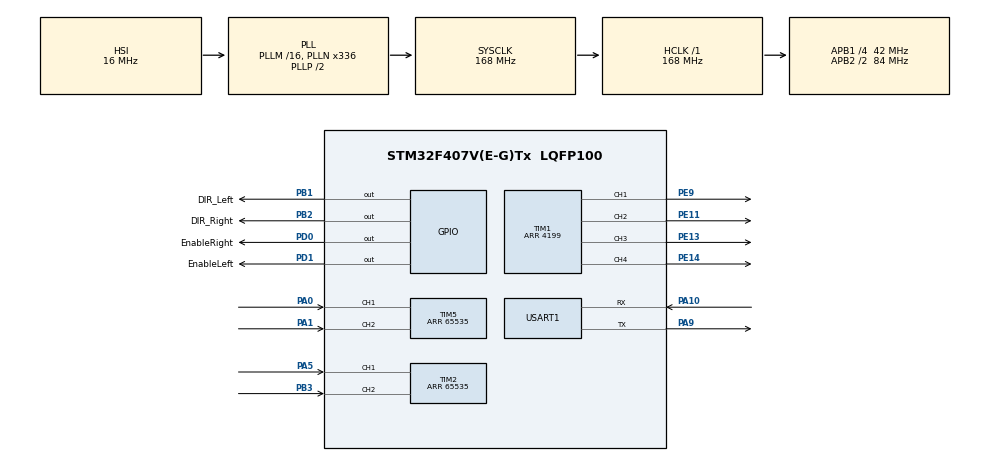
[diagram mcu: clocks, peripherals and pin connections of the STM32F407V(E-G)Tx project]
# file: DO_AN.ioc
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Mcu.Family=STM32F4
Mcu.Name=STM32F407V(E-G)Tx
Mcu.Package=LQFP100
NVIC.PriorityGroup=NVIC_PRIORITYGROUP_4
NVIC.TIM6_DAC_IRQn=true\:0\:0\:false\:false\:true\:true\:true
PA0-WKUP.Signal=S_TIM5_CH1
PA1.Signal=S_TIM5_CH2
PA10.Mode=Asynchronous
PA10.Signal=USART1_RX
PA5.Signal=S_TIM2_CH1_ETR
PA9.Mode=Asynchronous
PA9.Signal=USART1_TX
PB1.GPIO_Label=DIR_Left
PB1.Signal=GPIO_Output
PB2.GPIO_Label=DIR_Right
PB2.Signal=GPIO_Output
PB3.Signal=S_TIM2_CH2
PD0.GPIO_Label=EnableRight
PD0.Signal=GPIO_Output
PD1.GPIO_Label=EnableLeft
PD1.Signal=GPIO_Output
PE11.Signal=S_TIM1_CH2
PE13.Signal=S_TIM1_CH3
PE14.Signal=S_TIM1_CH4
PE9.Signal=S_TIM1_CH1
ProjectManager.HeapSize=0x200
ProjectManager.StackSize=0x400
ProjectManager.TargetToolchain=STM32CubeIDE
RCC.48MHZClocksFreq_Value=84000000
RCC.AHBFreq_Value=168000000
RCC.APB1CLKDivider=RCC_HCLK_DIV4
RCC.APB1Freq_Value=42000000
RCC.APB1TimFreq_Value=84000000
RCC.APB2CLKDivider=RCC_HCLK_DIV2
RCC.APB2Freq_Value=84000000
RCC.APB2TimFreq_Value=168000000
RCC.CortexFreq_Value=168000000
RCC.HCLKFreq_Value=168000000
RCC.HSE_VALUE=25000000
RCC.HSI_VALUE=16000000
RCC.LSE_VALUE=32768
RCC.PLLN=336
RCC.SYSCLKFreq_VALUE=168000000
RCC.SYSCLKSource=RCC_SYSCLKSOURCE_PLLCLK
RCC.VCOOutputFreq_Value=336000000
SH.S_TIM1_CH1.0=TIM1_CH1,PWM Generation1 CH1
SH.S_TIM1_CH2.0=TIM1_CH2,PWM Generation2 CH2
SH.S_TIM1_CH3.0=TIM1_CH3,PWM Generation3 CH3
SH.S_TIM1_CH4.0=TIM1_CH4,PWM Generation4 CH4
SH.S_TIM2_CH1_ETR.0=TIM2_CH1,Encoder_Interface
SH.S_TIM2_CH2.0=TIM2_CH2,Encoder_Interface
SH.S_TIM5_CH1.0=TIM5_CH1,Encoder_Interface
SH.S_TIM5_CH2.0=TIM5_CH2,Encoder_Interface
TIM1.Channel-PWM\ Generation1\ CH1=TIM_CHANNEL_1
TIM1.Channel-PWM\ Generation2\ CH2=TIM_CHANNEL_2
TIM1.Channel-PWM\ Generation3\ CH3=TIM_CHANNEL_3
TIM1.Channel-PWM\ Generation4\ CH4=TIM_CHANNEL_4
TIM1.Period=4199
TIM2.EncoderMode=TIM_ENCODERMODE_TI12
TIM2.Period=65535
TIM5.EncoderMode=TIM_ENCODERMODE_TI12
TIM5.Period=65535
TIM6.Period=8399
TIM6.Prescaler=9
USART1.VirtualMode=VM_ASYNC
VP_TIM1_VS_ClockSourceINT.Mode=Internal
VP_TIM6_VS_ClockSourceINT.Mode=Enable_Timer
board=custom

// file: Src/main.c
/* USER CODE BEGIN Header */
/**
  ******************************************************************************
  * @file           : main.c
  * @brief          : Main program body
  ******************************************************************************
  * @attention
  *
  * <h2><center>&copy; Copyright (c) 2026 STMicroelectronics.
  * All rights reserved.</center></h2>
  *
  * This software component is licensed by ST under BSD 3-Clause license,
  * the "License"; You may not use this file except in compliance with the
  * License. You may obtain a copy of the License at:
  *                        opensource.org/licenses/BSD-3-Clause
  *
  ******************************************************************************
  */
/* USER CODE END Header */
#include "main.h"
#include "tim.h"
#include "usart.h"
#include "gpio.h"
#include "control.h"
#include "global.h"
#include <string.h>

void SystemClock_Config(void);

int main(void)
{

  /* MCU Configuration--------------------------------------------------------*/

  /* Reset of all peripherals, Initializes the Flash interface and the Systick. */
  HAL_Init();

  /* Configure the system clock */
  SystemClock_Config();

  /* Initialize all configured peripherals */
  MX_GPIO_Init();
  MX_TIM1_Init();
  MX_TIM2_Init();
  MX_TIM6_Init();
  MX_TIM5_Init();
  MX_USART1_UART_Init();
  /* USER CODE BEGIN 2 */
  HAL_TIM_Base_Start_IT(&htim6);
  HAL_TIM_Encoder_Start(&htim2, TIM_CHANNEL_ALL);
  HAL_TIM_Encoder_Start(&htim5, TIM_CHANNEL_ALL);
  HAL_TIM_PWM_Start(&htim1, TIM_CHANNEL_1);
  HAL_TIM_PWM_Start(&htim1, TIM_CHANNEL_2);
  HAL_TIM_PWM_Start(&htim1, TIM_CHANNEL_3);
  HAL_TIM_PWM_Start(&htim1, TIM_CHANNEL_4);
  HAL_UART_Receive_IT(&huart1, rx_buf, sizeof(rx_buf));
  control_init();
  /* USER CODE END 2 */

  /* Infinite loop */
  while (1)
  {

  }
}

void SystemClock_Config(void)
{
  RCC_OscInitTypeDef RCC_OscInitStruct = {0};
  RCC_ClkInitTypeDef RCC_ClkInitStruct = {0};

  /** Configure the main internal regulator output voltage
  */
  __HAL_RCC_PWR_CLK_ENABLE();
  __HAL_PWR_VOLTAGESCALING_CONFIG(PWR_REGULATOR_VOLTAGE_SCALE1);
  /** Initializes the RCC Oscillators according to the specified parameters
  * in the RCC_OscInitTypeDef structure.
  */
  RCC_OscInitStruct.OscillatorType = RCC_OSCILLATORTYPE_HSI;
  RCC_OscInitStruct.HSIState = RCC_HSI_ON;
  RCC_OscInitStruct.HSICalibrationValue = RCC_HSICALIBRATION_DEFAULT;
  RCC_OscInitStruct.PLL.PLLState = RCC_PLL_ON;
  RCC_OscInitStruct.PLL.PLLSource = RCC_PLLSOURCE_HSI;
  RCC_OscInitStruct.PLL.PLLM = 16;
  RCC_OscInitStruct.PLL.PLLN = 336;
  RCC_OscInitStruct.PLL.PLLP = RCC_PLLP_DIV2;
  RCC_OscInitStruct.PLL.PLLQ = 4;
  if (HAL_RCC_OscConfig(&RCC_OscInitStruct) != HAL_OK)
  {
    Error_Handler();
  }
  /** Initializes the CPU, AHB and APB buses clocks
  */
  RCC_ClkInitStruct.ClockType = RCC_CLOCKTYPE_HCLK|RCC_CLOCKTYPE_SYSCLK
                              |RCC_CLOCKTYPE_PCLK1|RCC_CLOCKTYPE_PCLK2;
  RCC_ClkInitStruct.SYSCLKSource = RCC_SYSCLKSOURCE_PLLCLK;
  RCC_ClkInitStruct.AHBCLKDivider = RCC_SYSCLK_DIV1;
  RCC_ClkInitStruct.APB1CLKDivider = RCC_HCLK_DIV4;
  RCC_ClkInitStruct.APB2CLKDivider = RCC_HCLK_DIV2;

  if (HAL_RCC_ClockConfig(&RCC_ClkInitStruct, FLASH_LATENCY_5) != HAL_OK)
  {
    Error_Handler();
  }
}

/* USER CODE BEGIN 4 */
void HAL_TIM_PeriodElapsedCallback(TIM_HandleTypeDef *htim)
{
    if(htim->Instance == TIM6)
    {
        control_loop();
    }
}

void HAL_UART_RxCpltCallback(UART_HandleTypeDef *huart)
{
    if(huart->Instance == USART1)
    {
        // Copy raw bytes into the packet structure before using
        memcpy(&rx_packet, rx_buf, sizeof(rx_packet));

        cmd_v = rx_packet.v;
        cmd_w = rx_packet.w;

        last_cmd_time = HAL_GetTick();

        HAL_UART_Receive_IT(&huart1, rx_buf, sizeof(rx_buf));
    }
}
/* USER CODE END 4 */

void Error_Handler(void)
{
  __disable_irq();
  while (1)
  {
  }
}

/************************ (C) COPYRIGHT STMicroelectronics *****END OF FILE****/
